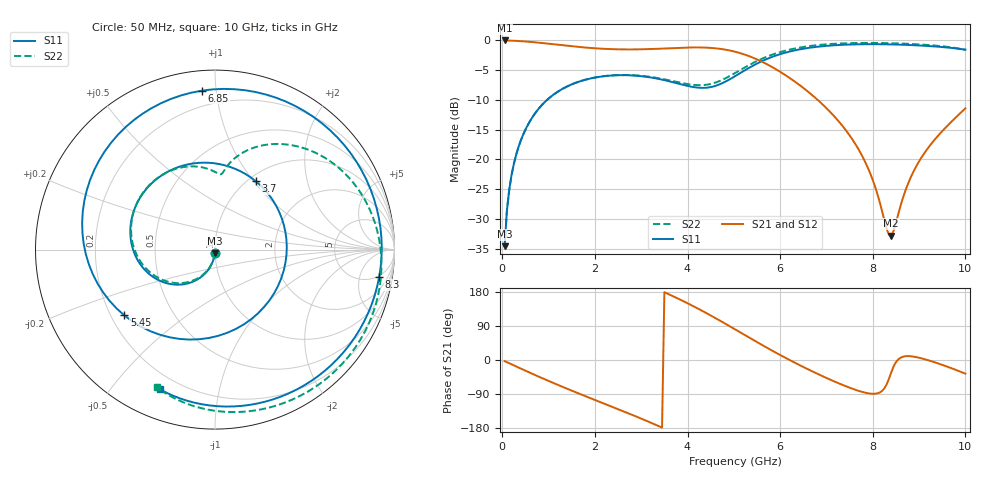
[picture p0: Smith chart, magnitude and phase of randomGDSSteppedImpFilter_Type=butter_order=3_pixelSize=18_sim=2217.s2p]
! freq	dB(S11)	phase(S11)	dB(S12)	phase(S12)
!  dB(S21)	phase(S21)	dB(S22)	phase(S22)
!S-par simulation data
#  GHz  S  DB  R 50
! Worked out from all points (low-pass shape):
!   200 points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, 50 MHz to 10 GHz, reference 50 ohm
!   highest |S21| = -0.01 dB at 50 MHz (marker M1); lowest = -32.8 dB at 8.4 GHz (marker M2)
!   |S21| within 3 dB of the highest: start of sweep to 5.445 GHz
!   lowest |S11| = -34.6 dB at 50 MHz (marker M3), VSWR 1.04, Z = 49.9 - j1.86 ohm
!   |S11| at or under -10 dB: start of sweep to 966.7 MHz
!   |S22| runs from -34.6 to -0.4 dB; largest |S21 - S12| = 0
!   S11 on the Smith chart (normalised r, x): 50 MHz: 1.00, -0.04; 3.7 GHz: 1.08, +1.03; 5.45 GHz: 0.25, -0.31; 6.85 GHz: 0.11, +0.92; 8.3 GHz: 5, -10; 10 GHz: 0.13, -0.67
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0.05  -34.57 -92.7  -0.01 -2.9  -0.01 -2.9  -34.58 -92.9
0.2  -22.63 -101.4  -0.04 -11.4  -0.04 -11.4  -22.62 -102.0
0.5  -14.99 -118.0  -0.18 -28.2  -0.18 -28.2  -14.99 -119.5
1.1  -9.14 -149.7  -0.64 -60.5  -0.64 -60.5  -9.14 -152.6
1.75  -6.70 177.6  -1.17 -93.3  -1.17 -93.3  -6.69 174.6
2.5  -5.85 139.3  -1.50 -129.7  -1.50 -129.7  -5.82 140.2
3.4  -6.51 83.5  -1.39 -175.7  -1.39 -175.7  -6.38 104.7
3.7  -7.06 59.4  -1.28 167.6  -1.28 167.6  -6.86 95.7
4.4  -7.95 -16.7  -1.21 124.3  -1.21 124.3  -7.46 84.9
5.05  -5.90 -99.9  -1.94 79.2  -1.94 79.2  -5.38 76.2
5.45  -4.09 -144.1  -3.02 50.8  -3.02 50.8  -3.65 63.2
6.05  -2.19 159.5  -5.51 9.9  -5.51 9.9  -1.85 37.6
6.7  -1.16 106.3  -9.25 -30.3  -9.25 -30.3  -0.88 9.4
6.85  -1.03 94.6  -10.27 -39.0  -10.27 -39.0  -0.75 3.1
7.25  -0.78 64.5  -13.47 -60.8  -13.47 -60.8  -0.53 -12.8
7.65  -0.66 35.3  -17.74 -79.6  -17.74 -79.6  -0.43 -27.8
8.3  -0.66 -9.5  -31.68 -64.3  -31.68 -64.3  -0.45 -50.7
8.35  -0.66 -12.8  -32.68 -49.4  -32.68 -49.4  -0.46 -52.4
8.4  -0.67 -16.0  -32.79 -32.3  -32.79 -32.3  -0.47 -54.1
8.8  -0.77 -41.5  -23.36 10.1  -23.36 10.1  -0.59 -67.6
9.2  -0.94 -65.8  -18.01 -0.7  -18.01 -0.7  -0.77 -81.3
10  -1.55 -111.6  -11.41 -36.2  -11.41 -36.2  -1.58 -112.8
